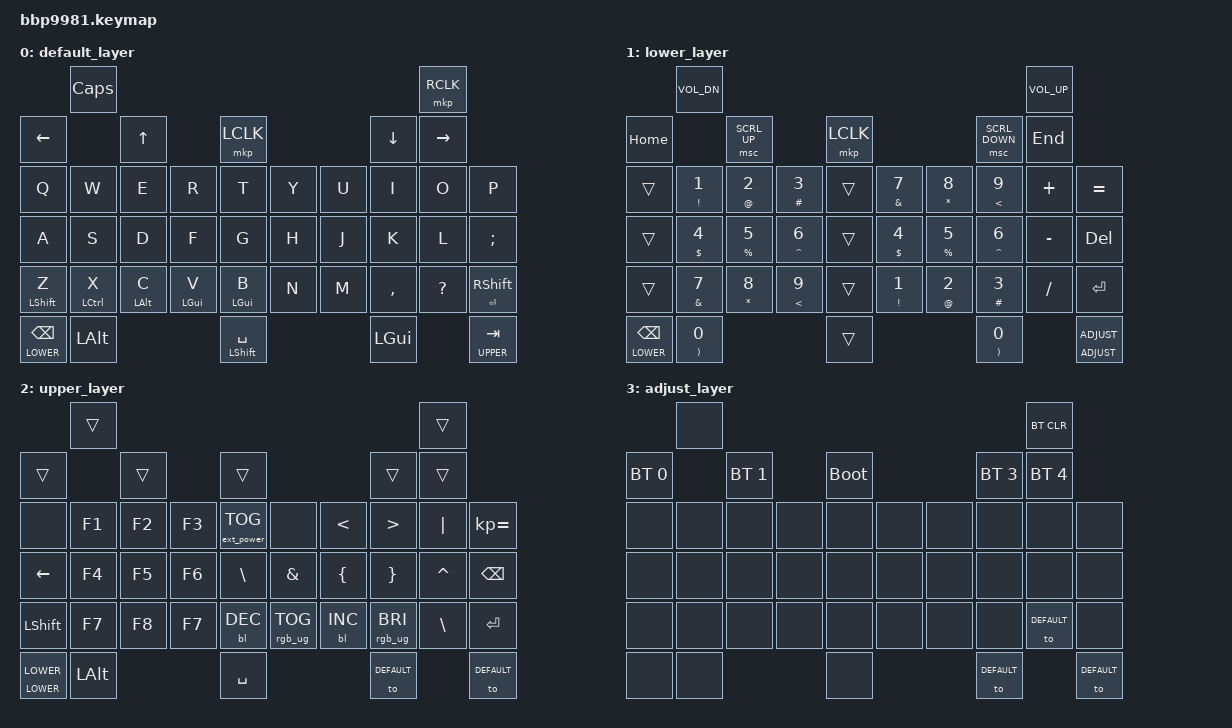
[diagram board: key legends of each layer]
/*
 * Copyright (c) 2025 ZitaoTech
 *
 * SPDX-License-Identifier: MIT
 */

#include <behaviors.dtsi>
#include <dt-bindings/zmk/keys.h>
#include <dt-bindings/zmk/bt.h>
#include <dt-bindings/zmk/outputs.h>
#include <dt-bindings/zmk/mouse.h>
#include <dt-bindings/zmk/backlight.h>
#include <dt-bindings/zmk/ext_power.h>
#include <dt-bindings/zmk/rgb.h>

#define DEFAULT 0
#define LOWER 1
#define UPPER 2
#define ADJUST 3

#define SL_MO(layer) &sl_mo layer layer //tap -> sticky layer, hold -> momentary layer
&sl {
    release-after-ms = <3000>;
    };

/{
macros {
        R_1W: R_1W {
            label = "R_1W";
            compatible = "zmk,behavior-macro";
            #binding-cells = <0>;
            wait-ms = <0>;
            tap-ms = <0>;
            bindings
                = <&macro_press &kp LSHFT>
                , <&macro_tap &kp S>
                , <&macro_release &kp LSHFT>
                , <&macro_tap &kp H &kp A &kp W &kp U &kp A &kp J &kp Y &kp D &kp S &kp N>
                ;
        };
        R_2W: R_2W {
            label = "R_2W";
            compatible = "zmk,behavior-macro";
            #binding-cells = <0>;
            wait-ms = <5>;
            tap-ms = <10>;
            bindings
                = <&macro_tap &kp PIPE>
                , <&macro_press &kp LSHFT>
                , <&macro_tap &kp X>
                , <&macro_release &kp LSHFT>
                , <&macro_tap &kp T &kp E>
                , <&macro_press &kp LSHFT>
                , <&macro_tap &kp Z &kp B>
                , <&macro_release &kp LSHFT>
                , <&macro_tap &kp N8>
                , <&macro_press &kp LSHFT>
                , <&macro_tap &kp Y>
                , <&macro_release &kp LSHFT>
                , <&macro_tap &kp R &kp D &kp C &kp SPACE>
                , <&macro_press &kp LSHFT>
                , <&macro_tap &kp S &kp B &kp R>
                , <&macro_release &kp LSHFT>
                , <&macro_tap &kp Z &kp U &kp 1>
                ;
        };
        textit: textit {
            label = "textit";
            compatible = "zmk,behavior-macro";
            #binding-cells = <0>;
            wait-ms = <20>;
            tap-ms = <10>;
            bindings
                = <&macro_tap 
                &kp LBRC &kp LEFT &kp LEFT
                &kp BSLH &kp F &kp K &kp X &kp F &kp L &kp F>
                ,<&macro_press &kp LALT>
                ,<&macro_tap &kp RIGHT &kp RIGHT>
                ,<&macro_release &kp LALT>
                ;
        };
        textbf: textbf {
            label = "textbf";
            compatible = "zmk,behavior-macro";
            #binding-cells = <0>;
            wait-ms = <20>;
            tap-ms = <10>;
            bindings
                = <&macro_tap 
                &kp LBRC &kp LEFT &kp LEFT
                &kp BSLH &kp F &kp K &kp X &kp F &kp B &kp E>
                ,<&macro_press 
                &kp LALT>
                ,<&macro_tap 
                &kp RIGHT &kp RIGHT>
                ,<&macro_release 
                &kp LALT>
                ;
        };
        LR_PAR: LR_PAR {
            label = "LR_PAR";
            compatible = "zmk,behavior-macro";
            #binding-cells = <0>;
            wait-ms = <40>;
            tap-ms = <40>;
            bindings
                = <&macro_press &kp LSHFT>
                , <&macro_tap &kp N9 &kp N0>
                , <&macro_release &kp LSHFT>
                , <&macro_tap &kp LEFT>
                ;
        };   
        parencite: parencite {
            label = "parencite";
            compatible = "zmk,behavior-macro";
            #binding-cells = <0>;
            wait-ms = <10>;
            tap-ms = <20>;
            bindings
                = <&macro_tap &kp BSLH &kp R &kp A &kp S &kp K &kp J &kp C &kp L &kp F &kp K>
                , <&macro_tap &kp LBKT &kp RBKT  &kp LBRC &kp RBRC &kp LEFT &kp LEFT &kp LBKT &kp RBKT &kp RIGHT &kp RIGHT>
                ;
        };
    };
    behaviors {
        td0: tap_dance_0 {
            compatible = "zmk,behavior-tap-dance";
            #binding-cells = <0>;
            tapping-term-ms = <400>;
            bindings = <&mkp LCLK>, <&bt BT_CLR>;
        };
        td_boot_out: td_boot_out {
            compatible = "zmk,behavior-tap-dance";
            #binding-cells = <0>;
            tapping-term-ms = <400>;
            bindings = <&bootloader>, <&out OUT_TOG>;
        };
        hm: homerow_mods {
            compatible = "zmk,behavior-hold-tap";
            #binding-cells = <2>;
            tapping-term-ms = <400>;
            bindings = <&kp &kp>;
        };
        sl_mo: behavior_sl_mo {
            compatible = "zmk,behavior-hold-tap";
            #binding-cells = <2>;
            flavor = "hold-preferred";      /*  */
            tapping-term-ms = <450>;       /*  */
            bindings = <&mo &sl>;          /* hold=MO, tap=SL */
        };
        qlt: quick_layer_tap {
            compatible = "zmk,behavior-hold-tap";
            #binding-cells = <2>;
            tapping-term-ms = <200>;
            quick-tap-ms = <200>;
            flavor = "hold-preferred";
            bindings = <&mo>, <&kp>;
        };        
        qmt: quick_mod_tap {
            compatible = "zmk,behavior-hold-tap";
            #binding-cells = <2>;
            tapping-term-ms = <200>;
            quick-tap-ms = <200>;
            flavor = "hold-preferred";
            bindings = <&kp>, <&kp>;
        }; 
        bhm: balanced_homerow_mods {
            compatible = "zmk,behavior-hold-tap";
            label = "HOMEROW_MODS";
            #binding-cells = <2>;
            tapping-term-ms = <250>;    // <---[[moderate duration]]
            quick-tap-ms = <0>;
            flavor = "balanced";
            bindings = <&kp>, <&kp>;
        };
        tns: tap_number_symbols {
            compatible = "zmk,behavior-hold-tap";
            label = "NUM_SYMBOLS";
            #binding-cells = <2>;
            tapping-term-ms = <250>;    // <---[[moderate duration]]
            quick-tap-ms = <0>;
            flavor = "tap-preferred";
            bindings = <&kp>, <&kp>;
        };
    sk_kp: behavior_sk_kp {
        compatible = "zmk,behavior-hold-tap";
        #binding-cells = <2>;
        flavor = "hold-preferred";
        tapping-term-ms = <450>;
        bindings = <&kp &sk>;          /* hold=kp, tap=sticky key */
        };
    };

    keymap {
        compatible = "zmk,keymap";

        default_layer {

            bindings = <
/*        --------------------------------------------------------------------------------------------------------------------------
//         |    Shoulder Key1    |                                                                             |    Shoulder Key2    |
// |         Call key      |      Blackberry Key        |    Trackpad    |             Back Key                |             Endcall Key          |
// |     Q      |     W    |     E    |     R    |      T      |       Y        |       U        |        I        |       O      |      P        |
// |     A      |     S    |     D    |     F    |      G      |       H        |       J        |        K        |       L      |      ←        |
// |     alt    |     Z    |     X    |     C    |      V      |       B        |       N        |        M        |       $      |    Enter      |
//        |         aA     |         0           |           SPACE              |         SYM         |        aA          |
//        -----------------------------------------------------------------------------------------------------------------
*/
                 &kp CAPS                                                                                           &mkp RCLK
    &kp LEFT                  &kp UP                           &mkp LCLK                          &kp DOWN                    &kp RIGHT
    &kp Q           &kp W        &kp E       &kp R       &kp T         &kp Y             &kp U            &kp I            &kp O            &kp P
    &kp A           &kp S        &kp D       &kp F       &kp G         &kp H             &kp J            &kp K            &kp L            &kp SEMI
    &bhm LSHFT Z    &bhm LCTRL X &bhm LALT C &bhm LGUI V &bhm LGUI B   &kp N             &kp M            &kp COMMA        &kp QMARK        &bhm ENTER RSHFT
    &qlt LOWER BSPC     &kp LALT                           &bhm LSHFT SPACE                          &kp  LGUI                        &qlt UPPER TAB
            >;
        };

        lower_layer {

            bindings = <
                 &kp C_VOL_DN                                                                                       &kp C_VOL_UP
    &kp HOME               &msc SCRL_UP                     &mkp LCLK                          &msc SCRL_DOWN                           &kp END
    &trans    &tns EXCL N1        &tns AT N2          &tns POUND N3    &trans     &tns AMPS N7        &tns ASTRK N8       &tns LT N9    &kp PLUS         &kp EQUAL
    &trans    &tns DLLR N4        &tns PRCNT N5       &tns CARET N6    &trans     &tns DLLR N4        &tns PRCNT N5       &tns CARET N6 &kp MINUS          &kp DEL
    &trans    &tns AMPS N7        &tns ASTRK N8       &tns LT N9       &trans     &tns EXCL N1        &tns AT N2          &tns POUND N3 &kp FSLH    &kp ENTER
    &qlt LOWER BSPC               &tns RPAR N0                              &trans           &tns RPAR N0                       &sl_mo ADJUST ADJUST
            >;
        };

        upper_layer {

            bindings = <
                 &trans                                                                               &trans
    &trans          &trans                                  &trans                          &trans                     &trans
    &none        &kp F1   &kp F2 &kp F3      &ext_power EP_TOG &none            &kp LT           &kp GT          &kp PIPE         &kp KP_EQUAL
    &kp LEFT     &kp F4   &kp F5 &kp F6           &kp BSLH          &kp AMPS         &kp LBRC         &kp RBRC        &kp CARET        &kp BSPC
    &kp LSHFT    &kp F7   &kp F8 &kp F7  &bl BL_DEC        &rgb_ug RGB_TOG  &bl BL_INC       &rgb_ug RGB_BRI &kp BSLH     &kp ENTER
    &sl_mo LOWER LOWER               &kp LALT                                      &kp  SPACE                        &to DEFAULT                      &to DEFAULT
            >;
        };

        adjust_layer {

            bindings = <
                 &none                                                                                        &bt BT_CLR
    &bt BT_SEL 0    &bt BT_SEL 1                                      &bootloader                         &bt BT_SEL 3        &bt BT_SEL 4
    &none        &none     &none       &none      &none        &none         &none           &none           &none            &none
    &none        &none     &none       &none      &none        &none         &none           &none           &none            &none
    &none        &none     &none       &none      &none        &none         &none           &none           &to DEFAULT      &none
    &none                  &none                               &none                         &to DEFAULT                      &to DEFAULT
            >;
        };
    };
};

/*
swest build -d build/bbp9981 -p -b  bbp9981 
west build -p -b bbp9981
*/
